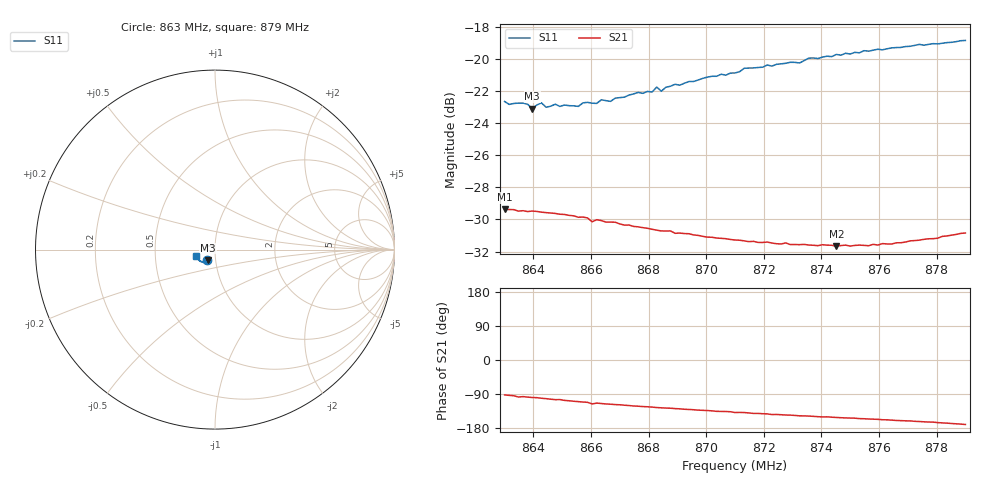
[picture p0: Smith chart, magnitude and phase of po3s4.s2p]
# HZ S RI R 50
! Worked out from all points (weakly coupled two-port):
!   101 points, 863 MHz to 879 MHz, reference 50 ohm
!   highest |S21| = -29.38 dB at 863 MHz (marker M1); lowest = -31.7 dB at 874.52 MHz (marker M2)
!   lowest |S11| = -23.1 dB at 863.96 MHz (marker M3), VSWR 1.15, Z = 46 - j5.38 ohm
!   |S11| at or under -10 dB: start of sweep to end of sweep
!   S12 and S22 are empty: the file has one direction only
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8.63e8  -0.0428 -0.0598  -0.00129 -0.0339  0 0  0 0
8.6364e8  -0.0414 -0.0598  -0.00388 -0.0334  0 0  0 0
8.6396e8  -0.0388 -0.0582  -0.00524 -0.0332  0 0  0 0
8.6428e8  -0.0394 -0.0613  -0.00632 -0.0327  0 0  0 0
8.6444e8  -0.038 -0.0595  -0.0069 -0.0325  0 0  0 0
8.6476e8  -0.039 -0.0608  -0.00833 -0.0319  0 0  0 0
8.6556e8  -0.0359 -0.0613  -0.0109 -0.0302  0 0  0 0
8.6572e8  -0.0364 -0.0631  -0.0115 -0.03  0 0  0 0
8.6604e8  -0.0365 -0.0629  -0.0136 -0.028  0 0  0 0
8.6668e8  -0.0375 -0.0634  -0.0139 -0.0277  0 0  0 0
8.6764e8  -0.0399 -0.0676  -0.0159 -0.0254  0 0  0 0
8.6812e8  -0.04 -0.0678  -0.0166 -0.0244  0 0  0 0
8.6828e8  -0.0418 -0.0701  -0.017 -0.0239  0 0  0 0
8.6844e8  -0.0411 -0.0678  -0.0172 -0.0235  0 0  0 0
8.6892e8  -0.044 -0.0707  -0.0177 -0.0225  0 0  0 0
8.71e8  -0.0536 -0.0727  -0.0205 -0.018  0 0  0 0
8.7132e8  -0.0567 -0.0742  -0.0204 -0.0179  0 0  0 0
8.7324e8  -0.0682 -0.069  -0.0222 -0.0143  0 0  0 0
8.7372e8  -0.0727 -0.0695  -0.0225 -0.0136  0 0  0 0
8.7452e8  -0.0794 -0.0658  -0.023 -0.0124  0 0  0 0
8.7644e8  -0.0922 -0.0564  -0.0247 -0.00962  0 0  0 0
8.79e8  -0.1083 -0.0355  -0.0283 -0.0049  0 0  0 0
